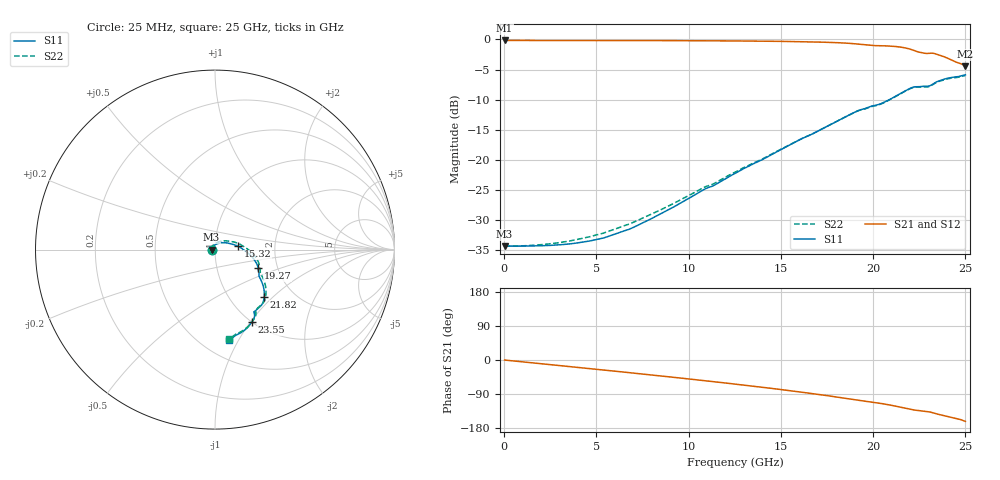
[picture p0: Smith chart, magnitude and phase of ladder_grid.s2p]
! BV_ts_refinout2: kisi's ladder as in the channel (with the cavities), 3D loss model
# Hz S RI R 50
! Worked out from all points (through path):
!   1000 points, 25 MHz to 25 GHz, reference 50 ohm
!   highest |S21| = -0.17 dB at 25 MHz (marker M1); lowest = -4.4 dB at 25 GHz (marker M2)
!   group delay of S21, straight-line fit = 16.8 ps
!   lowest |S11| = -34.3 dB at 25 MHz (marker M3), VSWR 1.04, Z = 48.1 + j0.00942 ohm
!   |S11| at or under -10 dB: start of sweep to 20.87 GHz
!   |S22| runs from -34.3 to -6.0 dB; largest |S21 - S12| = 0
!   S11 on the Smith chart (normalised r, x): 25 MHz: 0.96, +0.00; 15.32 GHz: 1.29, +0.05; 19.27 GHz: 1.58, -0.34; 21.82 GHz: 1.44, -0.88; 23.55 GHz: 1.01, -1.02; 25 GHz: 0.67, -0.91
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2.5e7  -0.0193 9.78e-05  0.9807 -0.00208  0.9807 -0.00208  -0.0193 9.83e-05
2.25e9  -0.0174 0.00881  0.9627 -0.1863  0.9627 -0.1863  -0.0179 0.00895
4.2e9  -0.0125 0.0167  0.9181 -0.3436  0.9181 -0.3436  -0.0141 0.0174
5.375e9  -0.00758 0.0212  0.8782 -0.4345  0.8782 -0.4345  -0.0101 0.0226
6.725e9  5.27e-06 0.0265  0.8205 -0.5344  0.8205 -0.5344  -0.00361 0.029
8.35e9  0.0125 0.0326  0.7344 -0.6464  0.7344 -0.6464  0.00764 0.0371
1.0275e10  0.0337 0.038  0.6089 -0.7636  0.6089 -0.7636  0.0279 0.0455
1.2525e10  0.0682 0.037  0.4316 -0.8707  0.4316 -0.8707  0.0625 0.0489
1.415e10  0.0996 0.0293  0.2853 -0.9239  0.2853 -0.9239  0.0952 0.0444
1.5325e10  0.1282 0.0188  0.1684 -0.9476  0.1684 -0.9476  0.1253 0.0359
1.6675e10  0.1636 -0.0041  0.027 -0.9528  0.027 -0.9528  0.1632 0.0148
1.81e10  0.2078 -0.0427  -0.134 -0.9299  -0.134 -0.9299  0.2108 -0.0231
1.9275e10  0.2396 -0.101  -0.265 -0.8712  -0.265 -0.8712  0.2453 -0.0823
2.0325e10  0.2469 -0.1515  -0.3599 -0.8106  -0.3599 -0.8106  0.2544 -0.134
2.085e10  0.2598 -0.1782  -0.4182 -0.7763  -0.4182 -0.7763  0.2683 -0.1618
2.1325e10  0.2713 -0.2136  -0.4723 -0.7308  -0.4723 -0.7308  0.2806 -0.1985
2.1825e10  0.2744 -0.2634  -0.5211 -0.6652  -0.5211 -0.6652  0.2838 -0.2503
2.235e10  0.2482 -0.3205  -0.5398 -0.5828  -0.5398 -0.5828  0.2565 -0.3092
2.3025e10  0.2167 -0.3486  -0.558 -0.5263  -0.558 -0.5263  0.2243 -0.3383
2.355e10  0.2064 -0.402  -0.5979 -0.442  -0.5979 -0.442  0.2128 -0.3938
2.4175e10  0.1555 -0.4553  -0.5967 -0.3337  -0.5967 -0.3337  0.1591 -0.4485
2.5e10  0.077 -0.5035  -0.5703 -0.1848  -0.5703 -0.1848  0.0761 -0.4969
